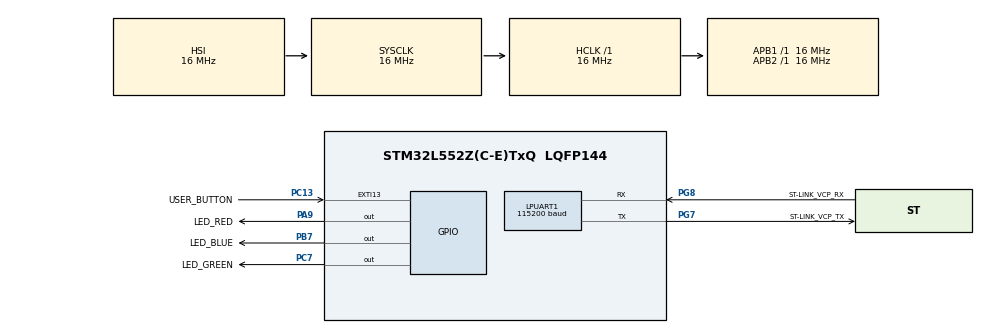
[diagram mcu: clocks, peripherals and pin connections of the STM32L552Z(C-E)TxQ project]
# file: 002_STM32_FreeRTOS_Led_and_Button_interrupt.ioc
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LPUART1.BaudRate=115200
Mcu.Family=STM32L5
Mcu.Name=STM32L552Z(C-E)TxQ
Mcu.Package=LQFP144
Mcu.TrustZone=disable
NVIC.EXTI13_IRQn=true\:0\:0\:false\:false\:true\:true\:true
NVIC.PriorityGroup=NVIC_PRIORITYGROUP_3
PA13\ (JTMS/SWDIO).Mode=Trace_Asynchronous_SW
PA13\ (JTMS/SWDIO).Signal=DEBUG_JTMS-SWDIO
PA14\ (JTCK/SWCLK).Mode=Trace_Asynchronous_SW
PA14\ (JTCK/SWCLK).Signal=DEBUG_JTCK-SWCLK
PA9.GPIO_Label=LED_RED
PA9.Signal=GPIO_Output
PB3\ (JTDO/TRACESWO).Mode=Trace_Asynchronous_SW
PB3\ (JTDO/TRACESWO).Signal=DEBUG_JTDO-SWO
PB7.GPIO_Label=LED_BLUE
PB7.Signal=GPIO_Output
PC13.GPIO_Label=USER_BUTTON
PC13.Signal=GPXTI13
PC14-OSC32_IN\ (PC14).Mode=LSE-External-Oscillator
PC14-OSC32_IN\ (PC14).Signal=RCC_OSC32_IN
PC15-OSC32_OUT\ (PC15).Mode=LSE-External-Oscillator
PC15-OSC32_OUT\ (PC15).Signal=RCC_OSC32_OUT
PC7.GPIO_Label=LED_GREEN
PC7.Signal=GPIO_Output
PG7.GPIO_Label=ST-LINK_VCP_TX
PG7.Mode=Asynchronous
PG7.Signal=LPUART1_TX
PG8.GPIO_Label=ST-LINK_VCP_RX
PG8.Mode=Asynchronous
PG8.Signal=LPUART1_RX
ProjectManager.HeapSize=0x200
ProjectManager.StackSize=0x400
ProjectManager.TargetToolchain=STM32CubeIDE
RCC.ADCCLockSelection=RCC_ADCCLKSOURCE_SYSCLK
RCC.ADCFreq_Value=16000000
RCC.AHBFreq_Value=16000000
RCC.APB1Freq_Value=16000000
RCC.APB1TimFreq_Value=16000000
RCC.APB2Freq_Value=16000000
RCC.APB2TimFreq_Value=16000000
RCC.CK48CLockSelection=RCC_USBCLKSOURCE_HSI48
RCC.CortexFreq_Value=16000000
RCC.HCLKFreq_Value=16000000
RCC.HSE_VALUE=8000000
RCC.HSI48_VALUE=48000000
RCC.HSI_VALUE=16000000
RCC.MSI_VALUE=4000000
RCC.PLLN=55
RCC.PLLSAI1N=24
RCC.RTCClockSelection=RCC_RTCCLKSOURCE_LSE
RCC.SYSCLKFreq_VALUE=16000000
RCC.SYSCLKSource=RCC_SYSCLKSOURCE_HSI
RCC.USBFreq_Value=48000000
RCC.VCOOutputFreq_Value=220000000
VP_PWR_VS_SECSignals.Mode=Security/Privilege
board=NUCLEO-L552ZE-Q

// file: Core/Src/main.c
/* USER CODE BEGIN Header */
/**
 ******************************************************************************
 * @file           : main.c
 * @brief          : Example 002: Led and button FreeRTOS tasks with interrupts
 *                   for NUCLEO-L552.
 *
 * @details TODO
 ******************************************************************************
 * @attention
 *
 * <h2><center>&copy; Copyright 2021 Leandro Medus.
 * All rights reserved.</center></h2>
 *
 * Permission is hereby granted, free of charge, to any person obtaining a copy
 * of this software and associated documentation files (the "Software"), to deal
 * in the Software without restriction, including without limitation the rights
 * to use, copy, modify, merge, publish, distribute, sublicense, and/or sell
 * copies of the Software, and to permit persons to whom the Software is
 * furnished to do so, subject to the following conditions:
 *
 * The above copyright notice and this permission notice shall be included in all
 * copies or substantial portions of the Software.
 *
 * THE SOFTWARE IS PROVIDED "AS IS", WITHOUT WARRANTY OF ANY KIND, EXPRESS OR
 * IMPLIED, INCLUDING BUT NOT LIMITED TO THE WARRANTIES OF MERCHANTABILITY,
 * FITNESS FOR A PARTICULAR PURPOSE AND NONINFRINGEMENT. IN NO EVENT SHALL THE
 * AUTHORS OR COPYRIGHT HOLDERS BE LIABLE FOR ANY CLAIM, DAMAGES OR OTHER
 * LIABILITY, WHETHER IN AN ACTION OF CONTRACT, TORT OR OTHERWISE, ARISING FROM,
 * OUT OF OR IN CONNECTION WITH THE SOFTWARE OR THE USE OR OTHER DEALINGS IN THE
 * SOFTWARE.
 *
 ******************************************************************************
 */

/*
 * Other useful functions:
 *
 *      SEGGER_SYSVIEW_PrintfTarget("Task-1 is yielding");
 *      snprintf(msg, 100, "%s\n", (char*)parameters);
 *      sendString(msg);
 *      traceISR_EXIT_TO_SCHEDULER();
 *      taskYIELD();

 * */

/* USER CODE END Header */
#include "main.h"

/* USER CODE BEGIN Includes */
#include "FreeRTOS.h"
#include "task.h"
#include <stdio.h>
#include <string.h>
/* USER CODE END Includes */

/* USER CODE BEGIN PTD */

#define DWT_CTRL    (*(volatile uint32_t*)0xE0001000)       /* Data Watchpoint and Trace Unit */
/* USER CODE END PTD */

UART_HandleTypeDef hlpuart1;

/* USER CODE BEGIN PV */
char usr_msg[250];
uint8_t UART_ACCESS_KEY = AVAILABLE;

uint8_t button_status_flag = NOT_PRESSED;

/* USER CODE END PV */

void SystemClock_Config(void);
static void MX_GPIO_Init(void);
static void MX_LPUART1_UART_Init(void);
/* USER CODE BEGIN PFP */
void sendString(char *msg);
static void led_task_handler(void* parameters);

/* USER CODE END PFP */

int main(void)
{
    /* USER CODE BEGIN 1 */
    //    TaskHandle_t task1_handle;
    //    TaskHandle_t task2_handle;

    BaseType_t status;

    char msg_program_init [] = "[info] ---- Example 002: Led and button tasks using interrupts ----\r\n";

    /* USER CODE END 1 */

    /* MCU Configuration--------------------------------------------------------*/

    /* Reset of all peripherals, Initializes the Flash interface and the Systick. */
    HAL_Init();

    /* Configure the system clock */
    SystemClock_Config();

    /* Initialize all configured peripherals */
    MX_GPIO_Init();
    MX_LPUART1_UART_Init();
    /* USER CODE BEGIN 2 */

    DWT_CTRL |= ( 1 << 0);                  //Enable the CYCCNT counter. (to maintain time stamps in Segger)

    sendString(msg_program_init);

    SEGGER_SYSVIEW_Conf();

    SEGGER_SYSVIEW_Start();                 // Start recording with SEGGER

    status = xTaskCreate(
            led_task_handler,               // name of the task handler
            "LED-TASK",                     // descriptive name. (Could be NULL)
            configMINIMAL_STACK_SIZE,       // stack space ([words] = 4*words [bytes])
            "LED-Task [info]",              // pvParameters
            1,                              // priority of the task
            NULL);                          // handler to the TCB (task controller block)
    //            &task1_handle);               // handler to the TCB (task controller block)

    configASSERT(status == pdPASS);

    vTaskStartScheduler();                  // start the freeRTOS scheduler
    /* USER CODE END 2 */

    /* Infinite loop */
    while (1)
    {

    }
}

void SystemClock_Config(void)
{
    RCC_OscInitTypeDef RCC_OscInitStruct = {0};
    RCC_ClkInitTypeDef RCC_ClkInitStruct = {0};

    /** Configure the main internal regulator output voltage
     */
    if (HAL_PWREx_ControlVoltageScaling(PWR_REGULATOR_VOLTAGE_SCALE2) != HAL_OK)
    {
        Error_Handler();
    }
    /** Initializes the RCC Oscillators according to the specified parameters
     * in the RCC_OscInitTypeDef structure.
     */
    RCC_OscInitStruct.OscillatorType = RCC_OSCILLATORTYPE_HSI;
    RCC_OscInitStruct.HSIState = RCC_HSI_ON;
    RCC_OscInitStruct.HSICalibrationValue = RCC_HSICALIBRATION_DEFAULT;
    RCC_OscInitStruct.PLL.PLLState = RCC_PLL_NONE;
    if (HAL_RCC_OscConfig(&RCC_OscInitStruct) != HAL_OK)
    {
        Error_Handler();
    }
    /** Initializes the CPU, AHB and APB buses clocks
     */
    RCC_ClkInitStruct.ClockType = RCC_CLOCKTYPE_HCLK|RCC_CLOCKTYPE_SYSCLK
            |RCC_CLOCKTYPE_PCLK1|RCC_CLOCKTYPE_PCLK2;
    RCC_ClkInitStruct.SYSCLKSource = RCC_SYSCLKSOURCE_HSI;
    RCC_ClkInitStruct.AHBCLKDivider = RCC_SYSCLK_DIV1;
    RCC_ClkInitStruct.APB1CLKDivider = RCC_HCLK_DIV1;
    RCC_ClkInitStruct.APB2CLKDivider = RCC_HCLK_DIV1;

    if (HAL_RCC_ClockConfig(&RCC_ClkInitStruct, FLASH_LATENCY_1) != HAL_OK)
    {
        Error_Handler();
    }
}

static void MX_LPUART1_UART_Init(void)
{

    hlpuart1.Instance = LPUART1;
    hlpuart1.Init.BaudRate = 115200;
    hlpuart1.Init.WordLength = UART_WORDLENGTH_8B;
    hlpuart1.Init.StopBits = UART_STOPBITS_1;
    hlpuart1.Init.Parity = UART_PARITY_NONE;
    hlpuart1.Init.Mode = UART_MODE_TX_RX;
    hlpuart1.Init.HwFlowCtl = UART_HWCONTROL_NONE;
    hlpuart1.Init.OneBitSampling = UART_ONE_BIT_SAMPLE_DISABLE;
    hlpuart1.Init.ClockPrescaler = UART_PRESCALER_DIV1;
    hlpuart1.AdvancedInit.AdvFeatureInit = UART_ADVFEATURE_NO_INIT;
    hlpuart1.FifoMode = UART_FIFOMODE_DISABLE;
    if (HAL_UART_Init(&hlpuart1) != HAL_OK)
    {
        Error_Handler();
    }
    if (HAL_UARTEx_SetTxFifoThreshold(&hlpuart1, UART_TXFIFO_THRESHOLD_1_8) != HAL_OK)
    {
        Error_Handler();
    }
    if (HAL_UARTEx_SetRxFifoThreshold(&hlpuart1, UART_RXFIFO_THRESHOLD_1_8) != HAL_OK)
    {
        Error_Handler();
    }
    if (HAL_UARTEx_DisableFifoMode(&hlpuart1) != HAL_OK)
    {
        Error_Handler();
    }

}

static void MX_GPIO_Init(void)
{
    GPIO_InitTypeDef GPIO_InitStruct = {0};

    /* GPIO Ports Clock Enable */
    __HAL_RCC_GPIOC_CLK_ENABLE();
    __HAL_RCC_GPIOG_CLK_ENABLE();
    HAL_PWREx_EnableVddIO2();
    __HAL_RCC_GPIOA_CLK_ENABLE();
    __HAL_RCC_GPIOB_CLK_ENABLE();

    /*Configure GPIO pin Output Level */
    HAL_GPIO_WritePin(LED_GREEN_GPIO_Port, LED_GREEN_Pin, GPIO_PIN_RESET);

    /*Configure GPIO pin Output Level */
    HAL_GPIO_WritePin(LED_RED_GPIO_Port, LED_RED_Pin, GPIO_PIN_RESET);

    /*Configure GPIO pin Output Level */
    HAL_GPIO_WritePin(LED_BLUE_GPIO_Port, LED_BLUE_Pin, GPIO_PIN_RESET);

    /*Configure GPIO pin : USER_BUTTON_Pin */
    GPIO_InitStruct.Pin = USER_BUTTON_Pin;
    GPIO_InitStruct.Mode = GPIO_MODE_IT_RISING;
    GPIO_InitStruct.Pull = GPIO_NOPULL;
    HAL_GPIO_Init(USER_BUTTON_GPIO_Port, &GPIO_InitStruct);

    /*Configure GPIO pin : LED_GREEN_Pin */
    GPIO_InitStruct.Pin = LED_GREEN_Pin;
    GPIO_InitStruct.Mode = GPIO_MODE_OUTPUT_PP;
    GPIO_InitStruct.Pull = GPIO_NOPULL;
    GPIO_InitStruct.Speed = GPIO_SPEED_FREQ_LOW;
    HAL_GPIO_Init(LED_GREEN_GPIO_Port, &GPIO_InitStruct);

    /*Configure GPIO pin : LED_RED_Pin */
    GPIO_InitStruct.Pin = LED_RED_Pin;
    GPIO_InitStruct.Mode = GPIO_MODE_OUTPUT_PP;
    GPIO_InitStruct.Pull = GPIO_NOPULL;
    GPIO_InitStruct.Speed = GPIO_SPEED_FREQ_LOW;
    HAL_GPIO_Init(LED_RED_GPIO_Port, &GPIO_InitStruct);

    /*Configure GPIO pin : LED_BLUE_Pin */
    GPIO_InitStruct.Pin = LED_BLUE_Pin;
    GPIO_InitStruct.Mode = GPIO_MODE_OUTPUT_PP;
    GPIO_InitStruct.Pull = GPIO_NOPULL;
    GPIO_InitStruct.Speed = GPIO_SPEED_FREQ_LOW;
    HAL_GPIO_Init(LED_BLUE_GPIO_Port, &GPIO_InitStruct);

    /* EXTI interrupt init*/
    HAL_NVIC_SetPriority(EXTI13_IRQn, 0, 0);
    HAL_NVIC_EnableIRQ(EXTI13_IRQn);

}

/* USER CODE BEGIN 4 */

/* --------------------------------------------------------------------------*/

/**
 * @brief  This function send a string using the UART
 * @retval None
 */
void sendString(char *msg)
{
    sprintf(usr_msg, msg);

    // sending a string
    HAL_UART_Transmit(&hlpuart1, (uint8_t *) usr_msg, strlen(usr_msg), 100);
}

/**
 * @brief  FreeRTOS task: LED
 * @details Led Task should turn on the LED if button flag is SET, otherwise it
 * should turn off the LED.
 *
 * @retval None
 */
static void led_task_handler(void* parameters)
{

    while(1)
    {

        if(button_status_flag == PRESSED)
        {
            // turn on LEDs
            //            HAL_GPIO_WritePin(LED_RED_GPIO_Port,   LED_RED_Pin,    GPIO_PIN_SET);
            HAL_GPIO_WritePin(LED_BLUE_GPIO_Port,  LED_BLUE_Pin,   GPIO_PIN_SET);
            HAL_GPIO_WritePin(LED_GREEN_GPIO_Port, LED_GREEN_Pin,  GPIO_PIN_SET);
        }else
        {
            // turn off the led
            //            HAL_GPIO_WritePin(LED_RED_GPIO_Port,   LED_RED_Pin,    GPIO_PIN_RESET);
            HAL_GPIO_WritePin(LED_BLUE_GPIO_Port,  LED_BLUE_Pin,   GPIO_PIN_RESET);
            HAL_GPIO_WritePin(LED_GREEN_GPIO_Port, LED_GREEN_Pin,  GPIO_PIN_RESET);
        }
    }
}

/**
 * @brief  handler for user push button (external interrupt)
 * @details Button function should check the button status of the board
 * and if pressed it should update the flag variable.
 *
 * @retval None
 */
void button_handler(void* parameters)
{

    static uint8_t last_state = NOT_PRESSED;

    if(HAL_GPIO_ReadPin(USER_BUTTON_GPIO_Port, USER_BUTTON_Pin) == GPIO_PIN_SET && (last_state == NOT_PRESSED))
    {
        // button is pressed
        button_status_flag = PRESSED;
        last_state = PRESSED;
    }else
    {
        // button is  not pressed
        button_status_flag = NOT_PRESSED;
        last_state = NOT_PRESSED;
    }
}

/* --------------------------------------------------------------------------*/
/* USER CODE END 4 */

void Error_Handler(void)
{
    __disable_irq();
    while (1)
    {
    }
}

/************************ (C) COPYRIGHT STMicroelectronics *****END OF FILE****/
